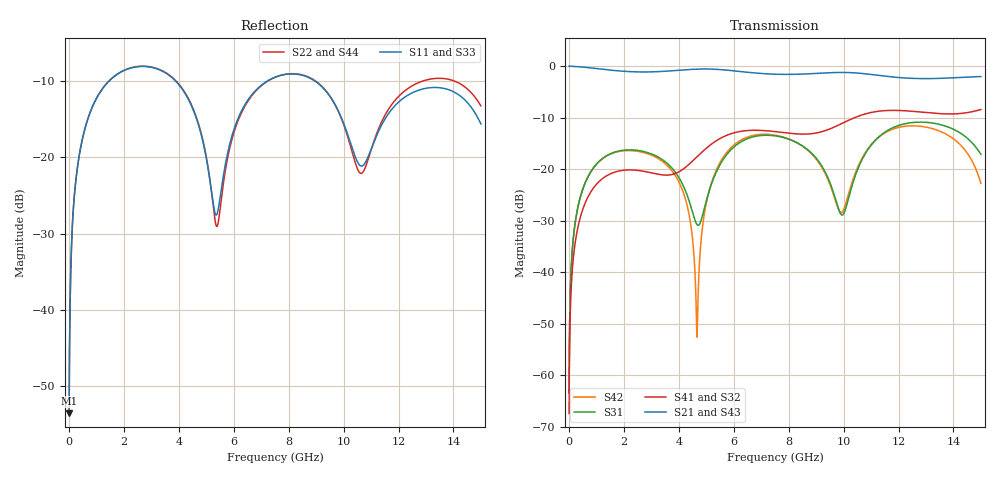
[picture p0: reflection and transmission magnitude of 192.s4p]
! Created with skrf 1.8.0 (http://scikit-rf.org).
# GHz S RI R 50.0
!freq ReS11 ImS11 ReS12 ImS12 ReS13 ImS13
! ReS14 ImS14
! ReS21 ImS21 ReS22 ImS22 ReS23 ImS23
! ReS24 ImS24
! ReS31 ImS31 ReS32 ImS32 ReS33 ImS33
! ReS34 ImS34
! ReS41 ImS41 ReS42 ImS42 ReS43 ImS43
! ReS44 ImS44
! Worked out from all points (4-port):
!   2499 points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, 5 MHz to 15 GHz, reference 50 ohm
!   strongest paths, dB at 5 MHz, 3.476 GHz, 7.19 GHz, 11.1 GHz, 15 GHz:
!     S21: 0.0, -1.0, -1.5, -1.7, -2.0
!     S43: 0.0, -1.0, -1.5, -1.7, -2.0
!     S41: -67.4, -21.2, -12.6, -8.9, -8.4
!     S32: -67.4, -21.2, -12.6, -8.9, -8.5
!     S31: -63.4, -18.5, -13.4, -14.7, -17.1
!     S42: -63.4, -18.8, -13.2, -14.7, -22.8
!   lowest |S11| = -53.5 dB at 5 MHz (marker M1), VSWR 1.00, Z = 50.2 + j0.128 ohm
!   |S11| at or under -10 dB: start of sweep to 1.459 GHz; 3.881 GHz to 7.226 GHz (3.345 GHz wide, 60.2 % of centre); 8.955 GHz to end of sweep
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0.005  0.00167 0.00127  0.9983 -0.00326  8.44e-05 0.000668  -8.19e-05 -0.000418
       0.9983 -0.00326  0.00167 0.00127  -8.19e-05 -0.000418  8.43e-05 0.000668
       8.44e-05 0.000668  -8.19e-05 -0.000418  0.00167 0.00127  0.9983 -0.00326
       -8.19e-05 -0.000418  8.43e-05 0.000668  0.9983 -0.00326  0.00167 0.00127
0.3126303  0.0249 0.0835  0.966 -0.2026  0.0117 0.0395  -0.00958 -0.0245
           0.966 -0.2026  0.0249 0.0835  -0.00957 -0.0245  0.0113 0.0396
           0.0117 0.0395  -0.00957 -0.0245  0.0249 0.0835  0.966 -0.2026
           -0.00958 -0.0245  0.0113 0.0396  0.966 -0.2026  0.0249 0.0835
1.519383  0.2697 0.1793  0.5494 -0.7297  0.1289 0.0583  -0.0901 -0.00635
          0.5494 -0.7297  0.2711 0.1784  -0.0899 -0.00657  0.125 0.0636
          0.1289 0.0583  -0.0899 -0.00657  0.2699 0.1792  0.5494 -0.7297
          -0.0901 -0.00635  0.125 0.0636  0.5494 -0.7297  0.271 0.1785
4.658191  0.1007 -0.1442  -0.8197 -0.4478  -0.0248 -0.0151  -0.058 0.1181
          -0.8197 -0.4478  0.0962 -0.1509  -0.0606 0.1167  -0.002 -0.00125
          -0.0248 -0.0151  -0.0606 0.1167  0.1001 -0.144  -0.8198 -0.4479
          -0.058 0.1181  -0.002 -0.00125  -0.8198 -0.4479  0.0963 -0.1503
5.589829  0.0533 0.0445  -0.9184 0.075  0.0178 0.1197  0.03 0.2017
          -0.9184 0.075  0.0456 0.0405  0.0259 0.2021  0.0407 0.1202
          0.0178 0.1197  0.0259 0.2021  0.0534 0.0456  -0.9184 0.075
          0.03 0.2017  0.0407 0.1202  -0.9184 0.075  0.0454 0.0406
8.353481  0.346 -0.0461  0.0174 0.8337  0.1561 -0.0844  0.2052 -0.0773
          0.0174 0.8337  0.3476 -0.0486  0.2052 -0.0688  0.1568 -0.082
          0.1561 -0.0844  0.2052 -0.0688  0.3478 -0.0487  0.0169 0.8336
          0.2052 -0.0773  0.1568 -0.082  0.0169 0.8336  0.3464 -0.0457
15  0.1433 -0.0831  -0.4663 -0.6388  0.00199 -0.1392  -0.2776 0.2578
    -0.4663 -0.6388  0.1597 -0.1473  -0.2945 0.2343  0.0567 -0.0454
    0.00199 -0.1392  -0.2945 0.2343  0.136 -0.0957  -0.465 -0.6404
    -0.2776 0.2578  0.0567 -0.0454  -0.465 -0.6404  0.1636 -0.1359
